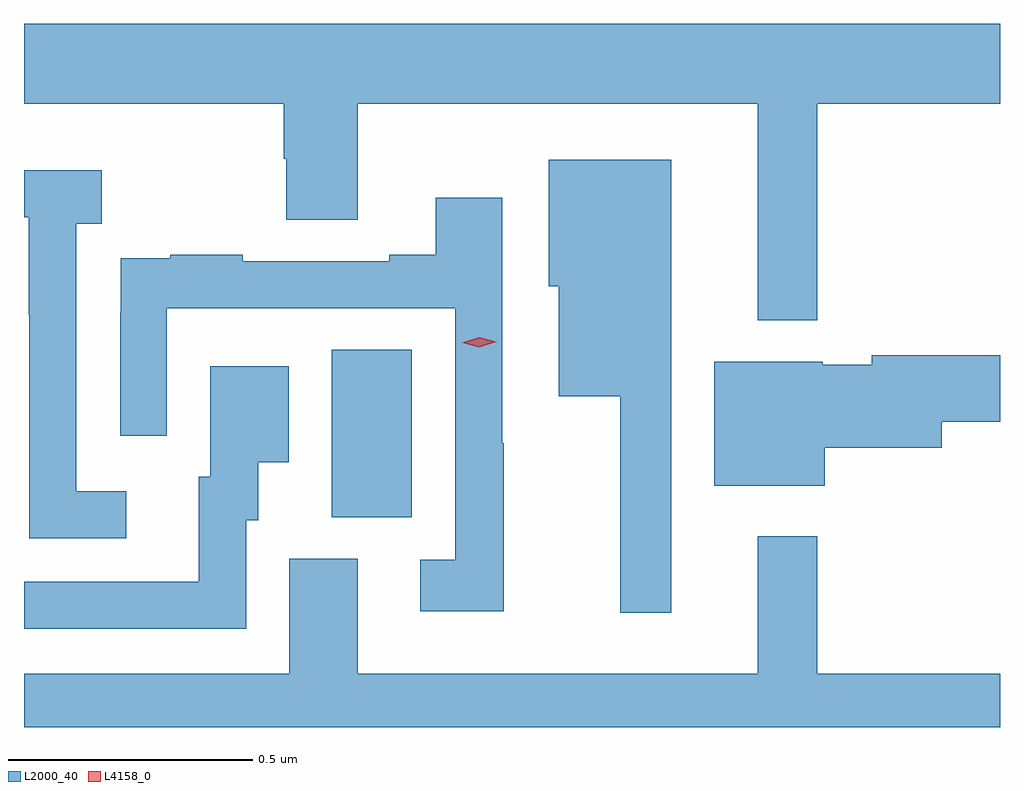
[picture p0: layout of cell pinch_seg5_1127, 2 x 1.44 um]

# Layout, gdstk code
import gdstk
lib = gdstk.Library(unit=1e-6, precision=1e-09)
def R(c, l, rs):  # rectangles x0, y0, x1, y1
    for r in rs: c.add(gdstk.rectangle(r[:2], r[2:], *l))
def P(c, l, *ps):  # polygons
    for p in ps: c.add(gdstk.Polygon(p, *l))
L2000_40 = (2000, 40)
L4158_0 = (4158, 0)

pinch_seg5_1127 = lib.new_cell('pinch_seg5_1127')
R(pinch_seg5_1127, L2000_40, [(806.72,867.901,806.884,868.244)])
P(pinch_seg5_1127, L2000_40, [(807.715,868.748),(808.089,868.748),(808.089,868.912),(806.089,868.912),(806.089,868.748),(806.621,868.748),(806.621,868.635),(806.626,868.635),(806.626,868.51),(806.773,868.51),(806.773,868.748),(807.593,868.748),(807.593,868.304),(807.715,868.304)],
  [(807.415,868.633),(807.164,868.633),(807.164,868.374),(807.185,868.374),(807.185,868.148),(807.311,868.148),(807.311,867.705),(807.415,867.705)],
  [(806.299,867.954),(806.196,867.954),(806.196,868.502),(806.248,868.502),(806.248,868.612),(806.089,868.612),(806.089,868.515),(806.099,868.515),(806.099,868.315),(806.1,868.315),(806.1,867.858),(806.299,867.858)],
  [(807.072,868.052),(807.069,868.052),(807.069,868.555),(806.933,868.555),(806.933,868.438),(806.837,868.438),(806.837,868.425),(806.537,868.425),(806.537,868.438),(806.389,868.438),(806.389,868.431),(806.287,868.431),(806.287,868.322),(806.286,868.322),(806.286,868.068),(806.382,868.068),(806.382,868.329),(806.973,868.329),(806.973,867.813),(806.901,867.813),(806.901,867.708),(807.072,867.708)],
  [(807.73,868.043),(807.97,868.043),(807.97,868.096),(808.089,868.096),(808.089,868.232),(807.826,868.232),(807.826,868.213),(807.726,868.213),(807.726,868.219),(807.503,868.219),(807.503,867.965),(807.73,867.965)],
  [(806.544,867.894),(806.569,867.894),(806.569,868.013),(806.632,868.013),(806.632,868.21),(806.471,868.21),(806.471,867.984),(806.447,867.984),(806.447,867.768),(806.089,867.768),(806.089,867.672),(806.544,867.672)],
  [(808.089,867.58),(807.715,867.58),(807.715,867.862),(807.593,867.862),(807.593,867.58),(806.773,867.58),(806.773,867.816),(806.633,867.816),(806.633,867.58),(806.089,867.58),(806.089,867.47),(808.089,867.47)])
P(pinch_seg5_1127, L4158_0, [(807.022,868.249),(806.987,868.258),(806.987,868.258),(806.987,868.258),(807.022,868.269),(807.057,868.26),(807.057,868.26),(807.057,868.26)])

lib.write_gds('pinch_seg5_1127.gds')
